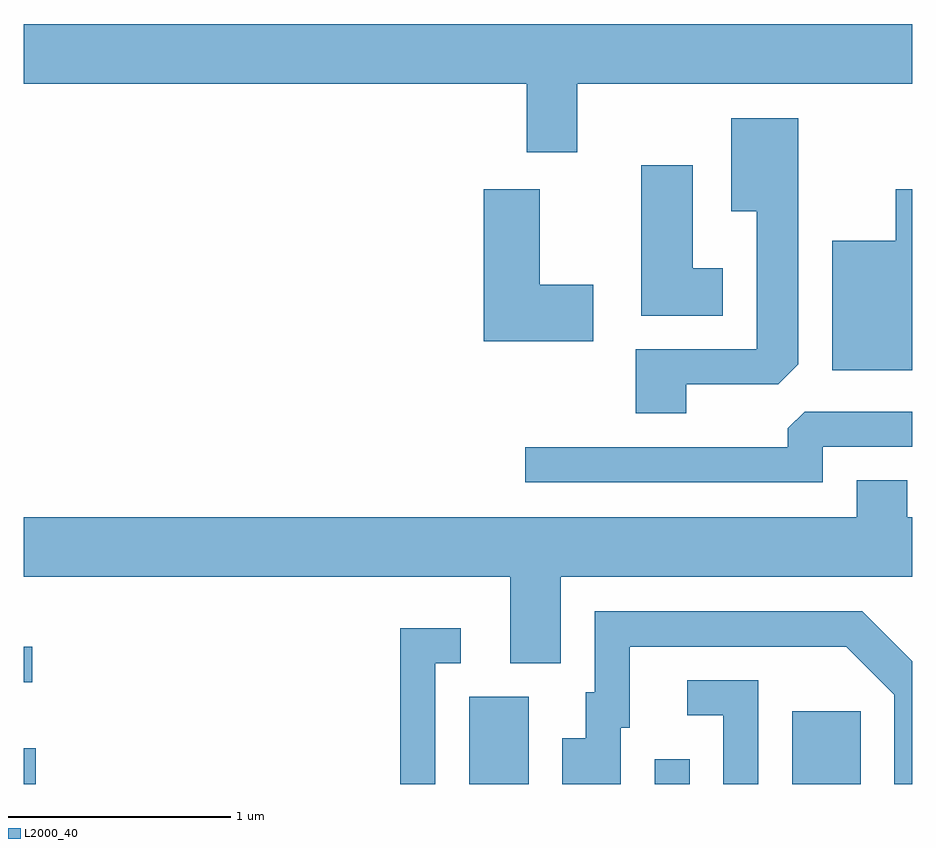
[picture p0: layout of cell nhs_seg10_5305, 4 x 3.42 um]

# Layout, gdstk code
import gdstk
lib = gdstk.Library(unit=1e-6, precision=1e-09)
def R(c, l, rs):  # rectangles x0, y0, x1, y1
    for r in rs: c.add(gdstk.rectangle(r[:2], r[2:], *l))
def P(c, l, *ps):  # polygons
    for p in ps: c.add(gdstk.Polygon(p, *l))
L2000_40 = (2000, 40)

nhs_seg10_5305 = lib.new_cell('nhs_seg10_5305')
R(nhs_seg10_5305, L2000_40, [(341.611,2128.522,341.664,2128.684), (343.616,2128.522,343.884,2128.914), (344.451,2128.522,344.609,2128.633), (345.071,2128.522,345.379,2128.849), (341.611,2128.981,341.648,2129.139)])
P(nhs_seg10_5305, L2000_40, [(344.104,2131.676),(345.611,2131.676),(345.611,2131.944),(341.611,2131.944),(341.611,2131.676),(343.876,2131.676),(343.876,2131.366),(344.104,2131.366)],
  [(344.594,2130.321),(345.009,2130.321),(345.099,2130.412),(345.099,2131.519),(344.796,2131.519),(344.796,2131.101),(344.911,2131.101),(344.911,2130.479),(344.366,2130.479),(344.366,2130.191),(344.594,2130.191)],
  [(344.759,2130.844),(344.624,2130.844),(344.624,2131.309),(344.391,2131.309),(344.391,2130.631),(344.759,2130.631)],
  [(344.174,2130.769),(343.934,2130.769),(343.934,2131.199),(343.681,2131.199),(343.681,2130.516),(344.174,2130.516)],
  [(345.611,2131.199),(345.536,2131.199),(345.536,2130.969),(345.251,2130.969),(345.251,2130.386),(345.611,2130.386)],
  [(345.209,2130.041),(345.611,2130.041),(345.611,2130.199),(345.127,2130.199),(345.051,2130.124),(345.051,2130.039),(343.868,2130.039),(343.868,2129.881),(345.209,2129.881)],
  [(344.029,2129.456),(345.611,2129.456),(345.611,2129.724),(345.589,2129.724),(345.589,2129.889),(345.361,2129.889),(345.361,2129.724),(341.611,2129.724),(341.611,2129.456),(343.801,2129.456),(343.801,2129.066),(344.029,2129.066)],
  [(344.299,2128.776),(344.339,2128.776),(344.339,2129.141),(345.314,2129.141),(345.531,2128.924),(345.531,2128.522),(345.611,2128.522),(345.611,2129.075),(345.387,2129.299),(344.181,2129.299),(344.181,2128.934),(344.141,2128.934),(344.141,2128.729),(344.036,2128.729),(344.036,2128.522),(344.299,2128.522)],
  [(343.464,2129.066),(343.578,2129.066),(343.578,2129.224),(343.306,2129.224),(343.306,2128.522),(343.464,2128.522)],
  [(344.919,2128.989),(344.598,2128.989),(344.598,2128.831),(344.761,2128.831),(344.761,2128.522),(344.919,2128.522)])

lib.write_gds('nhs_seg10_5305.gds')
